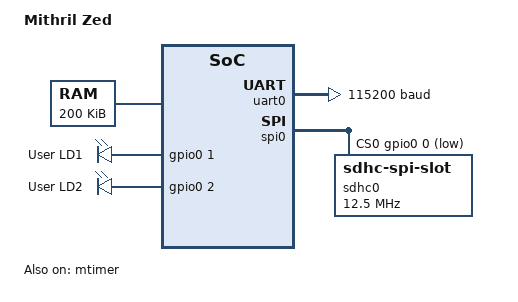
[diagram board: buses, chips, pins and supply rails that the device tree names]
/dts-v1/;

#include <mithril/mithril.dtsi>
#include <zephyr/dt-bindings/gpio/gpio.h>
#include <zephyr/dt-bindings/input/input-event-codes.h>
/ {
	model = "Mithril Zed";
	compatible = "mithril,zed";
	chosen {
		zephyr,console = &uart0;
		zephyr,shell-uart = &uart0;
		zephyr,sram = &ram0;
	};

	ram0: memory@2000000 {
		device_type = "memory";
		reg = <0x2000000 0x32000>;
	};

	leds {
		compatible = "gpio-leds";
		led_1: led_1 {
			gpios = <&gpio0 1 GPIO_ACTIVE_HIGH>;
			label = "User LD1";
		};
		led_2: led_2 {
			gpios = <&gpio0 2 GPIO_ACTIVE_HIGH>;
			label = "User LD2";
		};
	};

	aliases {
		led0 = &led_1;
		led1 = &led_2;
	};
};

&uart0 {
	status = "okay";
	current-speed = <115200>;
};


&mtimer {

	status = "okay";
};


&gpio0 {
	status = "okay";
};

&spi0 {
	status = "okay";
	cs-gpios = <&gpio0 0 GPIO_ACTIVE_LOW>;
	sdhc0: sdhc@0 {
        compatible = "zephyr,sdhc-spi-slot";
        reg = <0>;
        status = "okay";
        mmc {
            	compatible = "zephyr,sdmmc-disk";
                status = "okay";
            };

		spi-max-frequency = <12500000>;

        };
};

